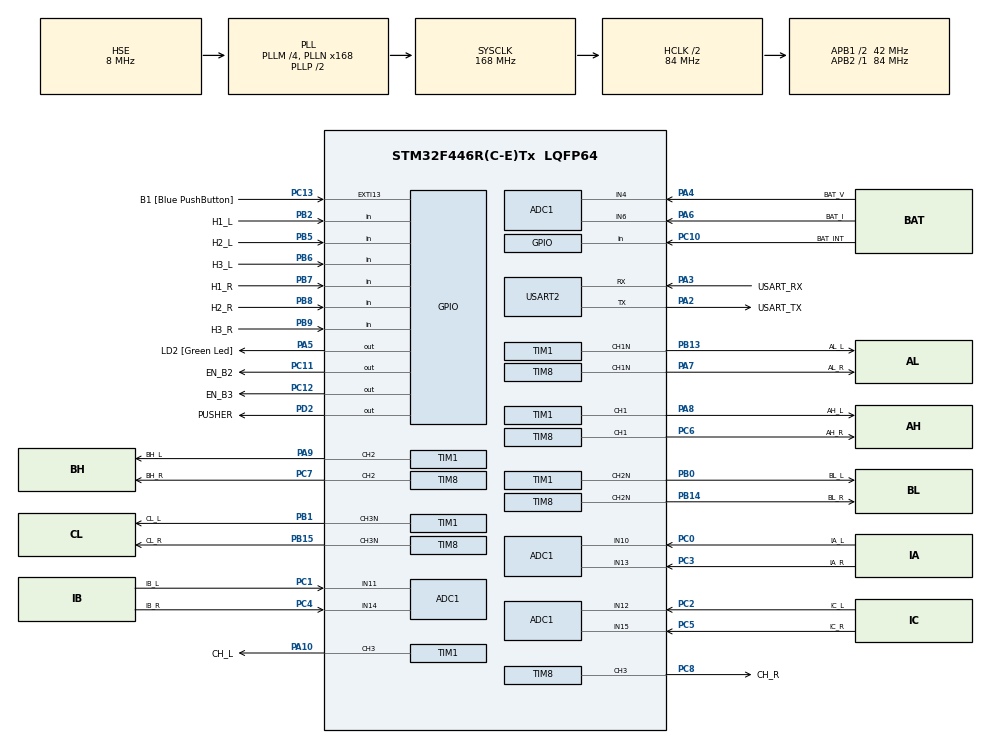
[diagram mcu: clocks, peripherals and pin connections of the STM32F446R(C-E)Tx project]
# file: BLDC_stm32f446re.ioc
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ADC1.Channel-0\#ChannelRegularConversion=ADC_CHANNEL_10
ADC1.Channel-1\#ChannelRegularConversion=ADC_CHANNEL_4
ADC1.Channel-2\#ChannelRegularConversion=ADC_CHANNEL_4
ADC1.Channel-3\#ChannelRegularConversion=ADC_CHANNEL_4
ADC1.Channel-4\#ChannelRegularConversion=ADC_CHANNEL_4
ADC1.Channel-5\#ChannelRegularConversion=ADC_CHANNEL_4
ADC1.Channel-6\#ChannelRegularConversion=ADC_CHANNEL_4
ADC1.Channel-7\#ChannelRegularConversion=ADC_CHANNEL_4
ADC1.NbrOfConversion=8
ADC1.NbrOfConversionFlag=1
ADC1.Rank-0\#ChannelRegularConversion=1
ADC1.Rank-1\#ChannelRegularConversion=2
ADC1.Rank-2\#ChannelRegularConversion=3
ADC1.Rank-3\#ChannelRegularConversion=4
ADC1.Rank-4\#ChannelRegularConversion=5
ADC1.Rank-5\#ChannelRegularConversion=6
ADC1.Rank-6\#ChannelRegularConversion=7
ADC1.Rank-7\#ChannelRegularConversion=8
ADC1.SamplingTime-0\#ChannelRegularConversion=ADC_SAMPLETIME_3CYCLES
ADC1.SamplingTime-1\#ChannelRegularConversion=ADC_SAMPLETIME_3CYCLES
ADC1.SamplingTime-2\#ChannelRegularConversion=ADC_SAMPLETIME_3CYCLES
ADC1.SamplingTime-3\#ChannelRegularConversion=ADC_SAMPLETIME_3CYCLES
ADC1.SamplingTime-4\#ChannelRegularConversion=ADC_SAMPLETIME_3CYCLES
ADC1.SamplingTime-5\#ChannelRegularConversion=ADC_SAMPLETIME_3CYCLES
ADC1.SamplingTime-6\#ChannelRegularConversion=ADC_SAMPLETIME_3CYCLES
ADC1.SamplingTime-7\#ChannelRegularConversion=ADC_SAMPLETIME_3CYCLES
ADC1.master=1
Mcu.Family=STM32F4
Mcu.Name=STM32F446R(C-E)Tx
Mcu.Package=LQFP64
NVIC.PriorityGroup=NVIC_PRIORITYGROUP_0
NVIC.TIM6_DAC_IRQn=true\:0\:0\:false\:false\:true\:true\:true\:true
NVIC.TIM7_IRQn=true\:0\:0\:false\:false\:true\:true\:true\:true
PA10.GPIO_Label=CH_L 
PA10.GPIO_PuPd=GPIO_PULLDOWN
PA10.Signal=S_TIM1_CH3
PA13.GPIO_Label=TMS
PA13.Mode=Trace_Asynchronous_SW
PA13.Signal=SYS_JTMS-SWDIO
PA14.GPIO_Label=TCK
PA14.Mode=Trace_Asynchronous_SW
PA14.Signal=SYS_JTCK-SWCLK
PA2.GPIO_Label=USART_TX
PA2.Mode=Asynchronous
PA2.Signal=USART2_TX
PA3.GPIO_Label=USART_RX
PA3.Mode=Asynchronous
PA3.Signal=USART2_RX
PA4.GPIO_Label=BAT_V
PA4.Signal=ADCx_IN4
PA5.GPIO_Label=LD2 [Green Led]
PA5.Signal=GPIO_Output
PA6.GPIO_Label=BAT_I
PA6.Signal=ADCx_IN6
PA7.GPIO_Label=AL_R 
PA7.GPIO_PuPd=GPIO_PULLDOWN
PA7.Mode=PWM Generation1 CH1 CH1N
PA7.Signal=TIM8_CH1N
PA8.GPIO_Label=AH_L 
PA8.GPIO_PuPd=GPIO_PULLDOWN
PA8.Signal=S_TIM1_CH1
PA9.GPIO_Label=BH_L 
PA9.GPIO_PuPd=GPIO_PULLDOWN
PA9.Signal=S_TIM1_CH2
PB0.GPIO_Label=BL_L 
PB0.GPIO_PuPd=GPIO_PULLDOWN
PB0.Mode=PWM Generation2 CH2 CH2N
PB0.Signal=TIM1_CH2N
PB1.GPIO_Label=CL_L 
PB1.GPIO_PuPd=GPIO_PULLDOWN
PB1.Mode=PWM Generation3 CH3 CH3N
PB1.Signal=TIM1_CH3N
PB13.GPIO_Label=AL_L 
PB13.GPIO_PuPd=GPIO_PULLDOWN
PB13.Mode=PWM Generation1 CH1 CH1N
PB13.Signal=TIM1_CH1N
PB14.GPIO_Label=BL_R
PB14.GPIO_PuPd=GPIO_PULLDOWN
PB14.Mode=PWM Generation2 CH2 CH2N
PB14.Signal=TIM8_CH2N
PB15.GPIO_Label=CL_R 
PB15.GPIO_PuPd=GPIO_PULLDOWN
PB15.Mode=PWM Generation3 CH3 CH3N
PB15.Signal=TIM8_CH3N
PB2.GPIO_Label=H1_L
PB2.Signal=GPIO_Input
PB3.GPIO_Label=SWO
PB3.Mode=Trace_Asynchronous_SW
PB3.Signal=SYS_JTDO-SWO
PB5.GPIO_Label=H2_L 
PB5.Signal=GPIO_Input
PB6.GPIO_Label=H3_L 
PB6.Signal=GPIO_Input
PB7.GPIO_Label=H1_R
PB7.Signal=GPIO_Input
PB8.GPIO_Label=H2_R
PB8.Signal=GPIO_Input
PB9.GPIO_Label=H3_R
PB9.Signal=GPIO_Input
PC0.GPIO_Label=IA_L 
PC0.Signal=ADCx_IN10
PC1.GPIO_Label=IB_L 
PC1.Signal=ADCx_IN11
PC10.GPIO_Label=BAT_INT 
PC10.Signal=GPIO_Input
PC11.GPIO_Label=EN_B2 
PC11.GPIO_PuPd=GPIO_PULLDOWN
PC11.Signal=GPIO_Output
PC12.GPIO_Label=EN_B3
PC12.GPIO_PuPd=GPIO_PULLDOWN
PC12.Signal=GPIO_Output
PC13.GPIO_Label=B1 [Blue PushButton]
PC13.GPIO_ModeDefaultEXTI=GPIO_MODE_IT_FALLING
PC13.Signal=GPXTI13
PC14-OSC32_IN.Mode=LSE-External-Oscillator
PC14-OSC32_IN.Signal=RCC_OSC32_IN
PC15-OSC32_OUT.Mode=LSE-External-Oscillator
PC15-OSC32_OUT.Signal=RCC_OSC32_OUT
PC2.GPIO_Label=IC_L 
PC2.Signal=ADCx_IN12
PC3.GPIO_Label=IA_R
PC3.Signal=ADCx_IN13
PC4.GPIO_Label=IB_R
PC4.Signal=ADCx_IN14
PC5.GPIO_Label=IC_R
PC5.Signal=ADCx_IN15
PC6.GPIO_Label=AH_R 
PC6.GPIO_PuPd=GPIO_PULLDOWN
PC6.Signal=S_TIM8_CH1
PC7.GPIO_Label=BH_R 
PC7.GPIO_PuPd=GPIO_PULLDOWN
PC7.Signal=S_TIM8_CH2
PC8.GPIO_Label=CH_R 
PC8.GPIO_PuPd=GPIO_PULLDOWN
PC8.Signal=S_TIM8_CH3
PD2.GPIO_Label=PUSHER
PD2.GPIO_PuPd=GPIO_PULLDOWN
PD2.Signal=GPIO_Output
PH0-OSC_IN.Mode=HSE-External-Oscillator
PH0-OSC_IN.Signal=RCC_OSC_IN
PH1-OSC_OUT.Mode=HSE-External-Oscillator
PH1-OSC_OUT.Signal=RCC_OSC_OUT
ProjectManager.HeapSize=0x200
ProjectManager.StackSize=0x400
ProjectManager.TargetToolchain=STM32CubeIDE
RCC.48MHZClocksFreq_Value=84000000
RCC.AHBCLKDivider=RCC_SYSCLK_DIV2
RCC.AHBFreq_Value=84000000
RCC.APB1CLKDivider=RCC_HCLK_DIV2
RCC.APB1Freq_Value=42000000
RCC.APB1TimFreq_Value=84000000
RCC.APB2Freq_Value=84000000
RCC.APB2TimFreq_Value=84000000
RCC.CortexFreq_Value=84000000
RCC.FLatency-AdvancedSettings=FLASH_LATENCY_2
RCC.HCLKFreq_Value=84000000
RCC.HSE_VALUE=8000000
RCC.HSI_VALUE=16000000
RCC.PLLM=4
RCC.PLLN=168
RCC.PLLQ=7
RCC.PLLSourceVirtual=RCC_PLLSOURCE_HSE
RCC.SYSCLKFreq_VALUE=168000000
RCC.SYSCLKSource=RCC_SYSCLKSOURCE_PLLCLK
RCC.USBFreq_Value=48000000
RCC.VCOOutputFreq_Value=336000000
SH.ADCx_IN10.0=ADC1_IN10,IN10
SH.ADCx_IN11.0=ADC1_IN11,IN11
SH.ADCx_IN12.0=ADC1_IN12,IN12
SH.ADCx_IN13.0=ADC1_IN13,IN13
SH.ADCx_IN14.0=ADC1_IN14,IN14
SH.ADCx_IN15.0=ADC1_IN15,IN15
SH.ADCx_IN4.0=ADC1_IN4,IN4
SH.ADCx_IN6.0=ADC1_IN6,IN6
SH.S_TIM1_CH1.0=TIM1_CH1,PWM Generation1 CH1 CH1N
SH.S_TIM1_CH2.0=TIM1_CH2,PWM Generation2 CH2 CH2N
SH.S_TIM1_CH3.0=TIM1_CH3,PWM Generation3 CH3 CH3N
SH.S_TIM8_CH1.0=TIM8_CH1,PWM Generation1 CH1 CH1N
SH.S_TIM8_CH2.0=TIM8_CH2,PWM Generation2 CH2 CH2N
SH.S_TIM8_CH3.0=TIM8_CH3,PWM Generation3 CH3 CH3N
TIM1.Channel-PWM\ Generation1\ CH1\ CH1N=TIM_CHANNEL_1
TIM1.Channel-PWM\ Generation2\ CH2\ CH2N=TIM_CHANNEL_2
TIM1.Channel-PWM\ Generation3\ CH3\ CH3N=TIM_CHANNEL_3
TIM1.CounterMode=TIM_COUNTERMODE_UP
TIM1.DeadTime=2
TIM1.OCNIdleState_1=TIM_OCNIDLESTATE_RESET
TIM1.OCNIdleState_2=TIM_OCNIDLESTATE_RESET
TIM1.OCNIdleState_3=TIM_OCNIDLESTATE_RESET
TIM1.OffStateRunMode=TIM_OSSR_ENABLE
TIM1.Period=100-1
TIM1.Prescaler=28-1
TIM1.Pulse-PWM\ Generation1\ CH1\ CH1N=0
TIM1.Pulse-PWM\ Generation2\ CH2\ CH2N=0
TIM1.Pulse-PWM\ Generation3\ CH3\ CH3N=0
TIM6.Period=10-1
TIM6.Prescaler=84-1
TIM6.TIM_MasterOutputTrigger=TIM_TRGO_RESET
TIM7.Period=1
TIM7.Prescaler=8400-1
TIM8.Channel-PWM\ Generation1\ CH1\ CH1N=TIM_CHANNEL_1
TIM8.Channel-PWM\ Generation2\ CH2\ CH2N=TIM_CHANNEL_2
TIM8.Channel-PWM\ Generation3\ CH3\ CH3N=TIM_CHANNEL_3
TIM8.DeadTime=2
TIM8.OffStateRunMode=TIM_OSSR_ENABLE
TIM8.Period=100-1
TIM8.Prescaler=28-1
TIM8.Pulse-PWM\ Generation1\ CH1\ CH1N=0
TIM8.Pulse-PWM\ Generation2\ CH2\ CH2N=0
TIM8.Pulse-PWM\ Generation3\ CH3\ CH3N=0
USART2.VirtualMode=VM_ASYNC
VP_TIM1_VS_ClockSourceINT.Mode=Internal
VP_TIM6_VS_ClockSourceINT.Mode=Enable_Timer
VP_TIM7_VS_ClockSourceINT.Mode=Enable_Timer
VP_TIM8_VS_ClockSourceINT.Mode=Internal
board=NUCLEO-F446RE

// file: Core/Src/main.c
/* USER CODE BEGIN Header */
/**
  ******************************************************************************
  * @file           : main.c
  * @brief          : Main program body
  ******************************************************************************
  * @attention
  *
  * Copyright (c) 2022 STMicroelectronics.
  * All rights reserved.
  *
  * This software is licensed under terms that can be found in the LICENSE file
  * in the root directory of this software component.
  * If no LICENSE file comes with this software, it is provided AS-IS.
  *
  ******************************************************************************
  */

/*  The following Table  describes the TIM1 Channels states (counterclockwise):
  -----------------------------------------------------------
  |Hall 1/2/3|  101  |  100  |  110  |  010  |  011  |  001  |
   ----------------------------------------------------------
  | aH-Ch1 |   0   |   0   |   0   |   1   |   1   |   0   |
   ----------------------------------------------------------
  | aL-Ch1N|   1   |   1   |   0   |   0   |   0   |   0   |
   ----------------------------------------------------------
  | bH-Ch2 |   1   |   0   |   0   |   0   |   0   |   1   |
   ----------------------------------------------------------
  | bL-Ch2N|   0   |   0   |   1   |   1   |   0   |   0   |
   ----------------------------------------------------------
  | cH-Ch3 |   0   |   1   |   1   |   0   |   0   |   0   |
   ----------------------------------------------------------
  | cL-Ch3N|   0   |   0   |   0   |   0   |   1   |   1   |
   ----------------------------------------------------------

   001 -> 011 -> 010 -> 110 -> 100 -> 101
*/

/*  The following Table  describes the TIM1 Channels states (clockwise):
  -----------------------------------------------------------
  |Hall 1/2/3|  101  |  100  |  110  |  010  |  011  |  001  |
   ----------------------------------------------------------
  | aH-Ch1 |   1   |   1   |   0   |   0   |   0   |   0   |
   ----------------------------------------------------------
  | aL-Ch1N|   0   |   0   |   0   |   1   |   1   |   0   |
   ----------------------------------------------------------
  | bH-Ch2 |   0   |   0   |   1   |   1   |   0   |   0   |
   ----------------------------------------------------------
  | bL-Ch2N|   1   |   0   |   0   |   0   |   0   |   1   |
   ----------------------------------------------------------
  | cH-Ch3 |   0   |   0   |   0   |   0   |   1   |   1   |
   ----------------------------------------------------------
  | cL-Ch3N|   0   |   1   |   1   |   0   |   0   |   0   |
   ----------------------------------------------------------

   101 -> 100 -> 110 -> 010 -> 011 -> 001
*/

/* USER CODE END Header */
#include "main.h"

/* USER CODE BEGIN Includes */
#include <stdio.h>
#include "functions.h"

//p number of poles pairs
// !!WARNING : IF CHANGED DEFINE, UPDATE FUNCTIONS.h FILE !!
#define P 8
#define FREQ_TIM7 10000
#define MAX_SPEED 20000
#define MIN_SPEED -20000
#define DC_MIN -90
#define DC_MAX 90

//hall sensors value
struct hall hall_L = {.h1=0,.h2=0,.h3=0,.h123=0,.prev_h123=0,.tickS=0,.tickP=0};
struct hall hall_R = {.h1=0,.h2=0,.h3=0,.h123=0,.prev_h123=0,.tickS=0,.tickP=0};

//enable bits for PWM : sense=1 -> motor clockwise // sense=0 -> motor anti clockwise
struct PWM PWM_L = {.aH=0,.aL=0,.bH=0,.bL=0,.cH=0,.cL=0,.sense=1};
struct PWM PWM_R = {.aH=0,.aL=0,.bH=0,.bL=0,.cH=0,.cL=0,.sense=0};

//speed control
struct dataSpeed dataSpeed_L = {.speed_ref=0,.speed=0,.error=0,.prev_error=0,.cmd=0,.cmdsat=0,.prev_cmd=0,.prev_cmdsat=0};
struct dataSpeed dataSpeed_R = {.speed_ref=0,.speed=0,.error=0,.prev_error=0,.cmd=0,.cmdsat=0,.prev_cmd=0,.prev_cmdsat=0};

//SYSTEM COMMAND
int16_t speed_refs[3]={3500,6000,0}; 	//in ms : 15sec at Fe=1kHz acquition

//PID settings
struct PID Speed_P = {.Kp=0.008f,.w_i=0,.Te=0.01f,.a0=0,.a1=0};

uint8_t millis_cpt=0; 	//to generate 1ms time
uint8_t millis_div=0;  //counter to match with TIM freq, to adapt to 1000Hz freq
uint16_t millis=0;    	//1ms time step

const uint16_t N=14499; 		//sample number for system identification

int16_t cpt=0;

/* USER CODE END Includes */

 ADC_HandleTypeDef hadc1;

TIM_HandleTypeDef htim1;
TIM_HandleTypeDef htim6;
TIM_HandleTypeDef htim7;
TIM_HandleTypeDef htim8;

UART_HandleTypeDef huart2;

void SystemClock_Config(void);
static void MX_GPIO_Init(void);
static void MX_USART2_UART_Init(void);
static void MX_ADC1_Init(void);
static void MX_TIM1_Init(void);
static void MX_TIM8_Init(void);
static void MX_TIM6_Init(void);
static void MX_TIM7_Init(void);

int main(void)
{
  /* USER CODE BEGIN 1 */

	//initialisation variables

  /* USER CODE END 1 */

  /* MCU Configuration--------------------------------------------------------*/

  /* Reset of all peripherals, Initializes the Flash interface and the Systick. */
  HAL_Init();

  /* Configure the system clock */
  SystemClock_Config();

  /* Initialize all configured peripherals */
  MX_GPIO_Init();
  MX_USART2_UART_Init();
  MX_ADC1_Init();
  MX_TIM1_Init();
  MX_TIM8_Init();
  MX_TIM6_Init();
  MX_TIM7_Init();
  /* USER CODE BEGIN 2 */

  //PWM START TIMER1
  HAL_TIM_PWM_Start(&htim1, TIM_CHANNEL_1);
  HAL_TIMEx_PWMN_Start(&htim1, TIM_CHANNEL_1);
  HAL_TIM_PWM_Start(&htim1, TIM_CHANNEL_2);
  HAL_TIMEx_PWMN_Start(&htim1, TIM_CHANNEL_2);
  HAL_TIM_PWM_Start(&htim1, TIM_CHANNEL_3);
  HAL_TIMEx_PWMN_Start(&htim1, TIM_CHANNEL_3);

  //PWM START TIMER8
  HAL_TIM_PWM_Start(&htim8, TIM_CHANNEL_1);
  HAL_TIMEx_PWMN_Start(&htim8, TIM_CHANNEL_1);
  HAL_TIM_PWM_Start(&htim8, TIM_CHANNEL_2);
  HAL_TIMEx_PWMN_Start(&htim8, TIM_CHANNEL_2);
  HAL_TIM_PWM_Start(&htim8, TIM_CHANNEL_3);
  HAL_TIMEx_PWMN_Start(&htim8, TIM_CHANNEL_3);

  //START INTERRUPTS
  HAL_TIM_Base_Start_IT(&htim6);
  HAL_TIM_Base_Start_IT(&htim7);
  TIM7->ARR = FREQ_TIM7/100; //set TIM7 interrupt frequency 100Hz

  //set interrupts priority
  //void HAL_NVIC_SetPriority (IRQn_Type IRQn, uint32_t PreemptPriority, uint32_t SubPriority)

  //tim1 priority, tim7, tim6
  //HAL_NVIC_SetPriority (TIM1 IRQn, uint32_t PreemptPriority, uint32_t SubPriority);

  //generate speed command (STEP)
  //void generateStep(uint16_t t0, uint8_t value0, uint16_t t1, uint8_t value1, uint16_t samples,  uint16_t  data[])
  //generateStep(10, 1000, 5000, 2500, N, speed_data);

  /* USER CODE END 2 */

  /* Infinite loop */
  while (1)
  {

    /* USER CODE BEGIN 3 */
	  /*
	  if (millis == N)
	  {
		  writeCSV(PWM_L.DC_data, N, PWM_L.DC_data, N);
		  millis++;
	  }
	*/

  }
  /* USER CODE END 3 */
}

void SystemClock_Config(void)
{
  RCC_OscInitTypeDef RCC_OscInitStruct = {0};
  RCC_ClkInitTypeDef RCC_ClkInitStruct = {0};

  /** Configure the main internal regulator output voltage
  */
  __HAL_RCC_PWR_CLK_ENABLE();
  __HAL_PWR_VOLTAGESCALING_CONFIG(PWR_REGULATOR_VOLTAGE_SCALE3);

  /** Initializes the RCC Oscillators according to the specified parameters
  * in the RCC_OscInitTypeDef structure.
  */
  RCC_OscInitStruct.OscillatorType = RCC_OSCILLATORTYPE_HSE;
  RCC_OscInitStruct.HSEState = RCC_HSE_ON;
  RCC_OscInitStruct.PLL.PLLState = RCC_PLL_ON;
  RCC_OscInitStruct.PLL.PLLSource = RCC_PLLSOURCE_HSE;
  RCC_OscInitStruct.PLL.PLLM = 4;
  RCC_OscInitStruct.PLL.PLLN = 168;
  RCC_OscInitStruct.PLL.PLLP = RCC_PLLP_DIV2;
  RCC_OscInitStruct.PLL.PLLQ = 7;
  RCC_OscInitStruct.PLL.PLLR = 2;
  if (HAL_RCC_OscConfig(&RCC_OscInitStruct) != HAL_OK)
  {
    Error_Handler();
  }

  /** Initializes the CPU, AHB and APB buses clocks
  */
  RCC_ClkInitStruct.ClockType = RCC_CLOCKTYPE_HCLK|RCC_CLOCKTYPE_SYSCLK
                              |RCC_CLOCKTYPE_PCLK1|RCC_CLOCKTYPE_PCLK2;
  RCC_ClkInitStruct.SYSCLKSource = RCC_SYSCLKSOURCE_PLLCLK;
  RCC_ClkInitStruct.AHBCLKDivider = RCC_SYSCLK_DIV2;
  RCC_ClkInitStruct.APB1CLKDivider = RCC_HCLK_DIV2;
  RCC_ClkInitStruct.APB2CLKDivider = RCC_HCLK_DIV1;

  if (HAL_RCC_ClockConfig(&RCC_ClkInitStruct, FLASH_LATENCY_2) != HAL_OK)
  {
    Error_Handler();
  }
}

static void MX_ADC1_Init(void)
{

  ADC_ChannelConfTypeDef sConfig = {0};

  /** Configure the global features of the ADC (Clock, Resolution, Data Alignment and number of conversion)
  */
  hadc1.Instance = ADC1;
  hadc1.Init.ClockPrescaler = ADC_CLOCK_SYNC_PCLK_DIV4;
  hadc1.Init.Resolution = ADC_RESOLUTION_12B;
  hadc1.Init.ScanConvMode = ENABLE;
  hadc1.Init.ContinuousConvMode = DISABLE;
  hadc1.Init.DiscontinuousConvMode = DISABLE;
  hadc1.Init.ExternalTrigConvEdge = ADC_EXTERNALTRIGCONVEDGE_NONE;
  hadc1.Init.ExternalTrigConv = ADC_SOFTWARE_START;
  hadc1.Init.DataAlign = ADC_DATAALIGN_RIGHT;
  hadc1.Init.NbrOfConversion = 8;
  hadc1.Init.DMAContinuousRequests = DISABLE;
  hadc1.Init.EOCSelection = ADC_EOC_SINGLE_CONV;
  if (HAL_ADC_Init(&hadc1) != HAL_OK)
  {
    Error_Handler();
  }

  /** Configure for the selected ADC regular channel its corresponding rank in the sequencer and its sample time.
  */
  sConfig.Channel = ADC_CHANNEL_10;
  sConfig.Rank = 1;
  sConfig.SamplingTime = ADC_SAMPLETIME_3CYCLES;
  if (HAL_ADC_ConfigChannel(&hadc1, &sConfig) != HAL_OK)
  {
    Error_Handler();
  }

  /** Configure for the selected ADC regular channel its corresponding rank in the sequencer and its sample time.
  */
  sConfig.Channel = ADC_CHANNEL_4;
  sConfig.Rank = 2;
  if (HAL_ADC_ConfigChannel(&hadc1, &sConfig) != HAL_OK)
  {
    Error_Handler();
  }

  /** Configure for the selected ADC regular channel its corresponding rank in the sequencer and its sample time.
  */
  sConfig.Rank = 3;
  if (HAL_ADC_ConfigChannel(&hadc1, &sConfig) != HAL_OK)
  {
    Error_Handler();
  }

  /** Configure for the selected ADC regular channel its corresponding rank in the sequencer and its sample time.
  */
  sConfig.Rank = 4;
  if (HAL_ADC_ConfigChannel(&hadc1, &sConfig) != HAL_OK)
  {
    Error_Handler();
  }

  /** Configure for the selected ADC regular channel its corresponding rank in the sequencer and its sample time.
  */
  sConfig.Rank = 5;
  if (HAL_ADC_ConfigChannel(&hadc1, &sConfig) != HAL_OK)
  {
    Error_Handler();
  }

  /** Configure for the selected ADC regular channel its corresponding rank in the sequencer and its sample time.
  */
  sConfig.Rank = 6;
  if (HAL_ADC_ConfigChannel(&hadc1, &sConfig) != HAL_OK)
  {
    Error_Handler();
  }

  /** Configure for the selected ADC regular channel its corresponding rank in the sequencer and its sample time.
  */
  sConfig.Rank = 7;
  if (HAL_ADC_ConfigChannel(&hadc1, &sConfig) != HAL_OK)
  {
    Error_Handler();
  }

  /** Configure for the selected ADC regular channel its corresponding rank in the sequencer and its sample time.
  */
  sConfig.Rank = 8;
  if (HAL_ADC_ConfigChannel(&hadc1, &sConfig) != HAL_OK)
  {
    Error_Handler();
  }

}

static void MX_TIM1_Init(void)
{

  TIM_ClockConfigTypeDef sClockSourceConfig = {0};
  TIM_MasterConfigTypeDef sMasterConfig = {0};
  TIM_OC_InitTypeDef sConfigOC = {0};
  TIM_BreakDeadTimeConfigTypeDef sBreakDeadTimeConfig = {0};

  htim1.Instance = TIM1;
  htim1.Init.Prescaler = 28-1;
  htim1.Init.CounterMode = TIM_COUNTERMODE_UP;
  htim1.Init.Period = 100-1;
  htim1.Init.ClockDivision = TIM_CLOCKDIVISION_DIV1;
  htim1.Init.RepetitionCounter = 0;
  htim1.Init.AutoReloadPreload = TIM_AUTORELOAD_PRELOAD_DISABLE;
  if (HAL_TIM_Base_Init(&htim1) != HAL_OK)
  {
    Error_Handler();
  }
  sClockSourceConfig.ClockSource = TIM_CLOCKSOURCE_INTERNAL;
  if (HAL_TIM_ConfigClockSource(&htim1, &sClockSourceConfig) != HAL_OK)
  {
    Error_Handler();
  }
  if (HAL_TIM_PWM_Init(&htim1) != HAL_OK)
  {
    Error_Handler();
  }
  sMasterConfig.MasterOutputTrigger = TIM_TRGO_RESET;
  sMasterConfig.MasterSlaveMode = TIM_MASTERSLAVEMODE_DISABLE;
  if (HAL_TIMEx_MasterConfigSynchronization(&htim1, &sMasterConfig) != HAL_OK)
  {
    Error_Handler();
  }
  sConfigOC.OCMode = TIM_OCMODE_PWM1;
  sConfigOC.Pulse = 0;
  sConfigOC.OCPolarity = TIM_OCPOLARITY_HIGH;
  sConfigOC.OCNPolarity = TIM_OCNPOLARITY_HIGH;
  sConfigOC.OCFastMode = TIM_OCFAST_DISABLE;
  sConfigOC.OCIdleState = TIM_OCIDLESTATE_RESET;
  sConfigOC.OCNIdleState = TIM_OCNIDLESTATE_RESET;
  if (HAL_TIM_PWM_ConfigChannel(&htim1, &sConfigOC, TIM_CHANNEL_1) != HAL_OK)
  {
    Error_Handler();
  }
  if (HAL_TIM_PWM_ConfigChannel(&htim1, &sConfigOC, TIM_CHANNEL_2) != HAL_OK)
  {
    Error_Handler();
  }
  if (HAL_TIM_PWM_ConfigChannel(&htim1, &sConfigOC, TIM_CHANNEL_3) != HAL_OK)
  {
    Error_Handler();
  }
  sBreakDeadTimeConfig.OffStateRunMode = TIM_OSSR_ENABLE;
  sBreakDeadTimeConfig.OffStateIDLEMode = TIM_OSSI_DISABLE;
  sBreakDeadTimeConfig.LockLevel = TIM_LOCKLEVEL_OFF;
  sBreakDeadTimeConfig.DeadTime = 2;
  sBreakDeadTimeConfig.BreakState = TIM_BREAK_DISABLE;
  sBreakDeadTimeConfig.BreakPolarity = TIM_BREAKPOLARITY_HIGH;
  sBreakDeadTimeConfig.AutomaticOutput = TIM_AUTOMATICOUTPUT_DISABLE;
  if (HAL_TIMEx_ConfigBreakDeadTime(&htim1, &sBreakDeadTimeConfig) != HAL_OK)
  {
    Error_Handler();
  }
  HAL_TIM_MspPostInit(&htim1);

}

static void MX_TIM6_Init(void)
{

  TIM_MasterConfigTypeDef sMasterConfig = {0};

  htim6.Instance = TIM6;
  htim6.Init.Prescaler = 84-1;
  htim6.Init.CounterMode = TIM_COUNTERMODE_UP;
  htim6.Init.Period = 10-1;
  htim6.Init.AutoReloadPreload = TIM_AUTORELOAD_PRELOAD_DISABLE;
  if (HAL_TIM_Base_Init(&htim6) != HAL_OK)
  {
    Error_Handler();
  }
  sMasterConfig.MasterOutputTrigger = TIM_TRGO_RESET;
  sMasterConfig.MasterSlaveMode = TIM_MASTERSLAVEMODE_DISABLE;
  if (HAL_TIMEx_MasterConfigSynchronization(&htim6, &sMasterConfig) != HAL_OK)
  {
    Error_Handler();
  }

}

static void MX_TIM7_Init(void)
{

  TIM_MasterConfigTypeDef sMasterConfig = {0};

  htim7.Instance = TIM7;
  htim7.Init.Prescaler = 8400-1;
  htim7.Init.CounterMode = TIM_COUNTERMODE_UP;
  htim7.Init.Period = 1;
  htim7.Init.AutoReloadPreload = TIM_AUTORELOAD_PRELOAD_DISABLE;
  if (HAL_TIM_Base_Init(&htim7) != HAL_OK)
  {
    Error_Handler();
  }
  sMasterConfig.MasterOutputTrigger = TIM_TRGO_RESET;
  sMasterConfig.MasterSlaveMode = TIM_MASTERSLAVEMODE_DISABLE;
  if (HAL_TIMEx_MasterConfigSynchronization(&htim7, &sMasterConfig) != HAL_OK)
  {
    Error_Handler();
  }

}

static void MX_TIM8_Init(void)
{

  TIM_ClockConfigTypeDef sClockSourceConfig = {0};
  TIM_MasterConfigTypeDef sMasterConfig = {0};
  TIM_OC_InitTypeDef sConfigOC = {0};
  TIM_BreakDeadTimeConfigTypeDef sBreakDeadTimeConfig = {0};

  htim8.Instance = TIM8;
  htim8.Init.Prescaler = 28-1;
  htim8.Init.CounterMode = TIM_COUNTERMODE_UP;
  htim8.Init.Period = 100-1;
  htim8.Init.ClockDivision = TIM_CLOCKDIVISION_DIV1;
  htim8.Init.RepetitionCounter = 0;
  htim8.Init.AutoReloadPreload = TIM_AUTORELOAD_PRELOAD_DISABLE;
  if (HAL_TIM_Base_Init(&htim8) != HAL_OK)
  {
    Error_Handler();
  }
  sClockSourceConfig.ClockSource = TIM_CLOCKSOURCE_INTERNAL;
  if (HAL_TIM_ConfigClockSource(&htim8, &sClockSourceConfig) != HAL_OK)
  {
    Error_Handler();
  }
  if (HAL_TIM_PWM_Init(&htim8) != HAL_OK)
  {
    Error_Handler();
  }
  sMasterConfig.MasterOutputTrigger = TIM_TRGO_RESET;
  sMasterConfig.MasterSlaveMode = TIM_MASTERSLAVEMODE_DISABLE;
  if (HAL_TIMEx_MasterConfigSynchronization(&htim8, &sMasterConfig) != HAL_OK)
  {
    Error_Handler();
  }
  sConfigOC.OCMode = TIM_OCMODE_PWM1;
  sConfigOC.Pulse = 0;
  sConfigOC.OCPolarity = TIM_OCPOLARITY_HIGH;
  sConfigOC.OCNPolarity = TIM_OCNPOLARITY_HIGH;
  sConfigOC.OCFastMode = TIM_OCFAST_DISABLE;
  sConfigOC.OCIdleState = TIM_OCIDLESTATE_RESET;
  sConfigOC.OCNIdleState = TIM_OCNIDLESTATE_RESET;
  if (HAL_TIM_PWM_ConfigChannel(&htim8, &sConfigOC, TIM_CHANNEL_1) != HAL_OK)
  {
    Error_Handler();
  }
  if (HAL_TIM_PWM_ConfigChannel(&htim8, &sConfigOC, TIM_CHANNEL_2) != HAL_OK)
  {
    Error_Handler();
  }
  if (HAL_TIM_PWM_ConfigChannel(&htim8, &sConfigOC, TIM_CHANNEL_3) != HAL_OK)
  {
    Error_Handler();
  }
  sBreakDeadTimeConfig.OffStateRunMode = TIM_OSSR_ENABLE;
  sBreakDeadTimeConfig.OffStateIDLEMode = TIM_OSSI_DISABLE;
  sBreakDeadTimeConfig.LockLevel = TIM_LOCKLEVEL_OFF;
  sBreakDeadTimeConfig.DeadTime = 2;
  sBreakDeadTimeConfig.BreakState = TIM_BREAK_DISABLE;
  sBreakDeadTimeConfig.BreakPolarity = TIM_BREAKPOLARITY_HIGH;
  sBreakDeadTimeConfig.AutomaticOutput = TIM_AUTOMATICOUTPUT_DISABLE;
  if (HAL_TIMEx_ConfigBreakDeadTime(&htim8, &sBreakDeadTimeConfig) != HAL_OK)
  {
    Error_Handler();
  }
  HAL_TIM_MspPostInit(&htim8);

}

static void MX_USART2_UART_Init(void)
{

  huart2.Instance = USART2;
  huart2.Init.BaudRate = 115200;
  huart2.Init.WordLength = UART_WORDLENGTH_8B;
  huart2.Init.StopBits = UART_STOPBITS_1;
  huart2.Init.Parity = UART_PARITY_NONE;
  huart2.Init.Mode = UART_MODE_TX_RX;
  huart2.Init.HwFlowCtl = UART_HWCONTROL_NONE;
  huart2.Init.OverSampling = UART_OVERSAMPLING_16;
  if (HAL_UART_Init(&huart2) != HAL_OK)
  {
    Error_Handler();
  }

}

static void MX_GPIO_Init(void)
{
  GPIO_InitTypeDef GPIO_InitStruct = {0};

  /* GPIO Ports Clock Enable */
  __HAL_RCC_GPIOC_CLK_ENABLE();
  __HAL_RCC_GPIOH_CLK_ENABLE();
  __HAL_RCC_GPIOA_CLK_ENABLE();
  __HAL_RCC_GPIOB_CLK_ENABLE();
  __HAL_RCC_GPIOD_CLK_ENABLE();

  /*Configure GPIO pin Output Level */
  HAL_GPIO_WritePin(LD2_GPIO_Port, LD2_Pin, GPIO_PIN_RESET);

  /*Configure GPIO pin Output Level */
  HAL_GPIO_WritePin(GPIOC, EN_B2_Pin|EN_B3_Pin, GPIO_PIN_RESET);

  /*Configure GPIO pin Output Level */
  HAL_GPIO_WritePin(PUSHER_GPIO_Port, PUSHER_Pin, GPIO_PIN_RESET);

  /*Configure GPIO pin : B1_Pin */
  GPIO_InitStruct.Pin = B1_Pin;
  GPIO_InitStruct.Mode = GPIO_MODE_IT_FALLING;
  GPIO_InitStruct.Pull = GPIO_NOPULL;
  HAL_GPIO_Init(B1_GPIO_Port, &GPIO_InitStruct);

  /*Configure GPIO pin : LD2_Pin */
  GPIO_InitStruct.Pin = LD2_Pin;
  GPIO_InitStruct.Mode = GPIO_MODE_OUTPUT_PP;
  GPIO_InitStruct.Pull = GPIO_NOPULL;
  GPIO_InitStruct.Speed = GPIO_SPEED_FREQ_LOW;
  HAL_GPIO_Init(LD2_GPIO_Port, &GPIO_InitStruct);

  /*Configure GPIO pins : H1_L_Pin H2_L_Pin H3_L_Pin H1_R_Pin
                           H2_R_Pin H3_R_Pin */
  GPIO_InitStruct.Pin = H1_L_Pin|H2_L_Pin|H3_L_Pin|H1_R_Pin
                          |H2_R_Pin|H3_R_Pin;
  GPIO_InitStruct.Mode = GPIO_MODE_INPUT;
  GPIO_InitStruct.Pull = GPIO_NOPULL;
  HAL_GPIO_Init(GPIOB, &GPIO_InitStruct);

  /*Configure GPIO pin : BAT_INT_Pin */
  GPIO_InitStruct.Pin = BAT_INT_Pin;
  GPIO_InitStruct.Mode = GPIO_MODE_INPUT;
  GPIO_InitStruct.Pull = GPIO_NOPULL;
  HAL_GPIO_Init(BAT_INT_GPIO_Port, &GPIO_InitStruct);

  /*Configure GPIO pins : EN_B2_Pin EN_B3_Pin */
  GPIO_InitStruct.Pin = EN_B2_Pin|EN_B3_Pin;
  GPIO_InitStruct.Mode = GPIO_MODE_OUTPUT_PP;
  GPIO_InitStruct.Pull = GPIO_PULLDOWN;
  GPIO_InitStruct.Speed = GPIO_SPEED_FREQ_LOW;
  HAL_GPIO_Init(GPIOC, &GPIO_InitStruct);

  /*Configure GPIO pin : PUSHER_Pin */
  GPIO_InitStruct.Pin = PUSHER_Pin;
  GPIO_InitStruct.Mode = GPIO_MODE_OUTPUT_PP;
  GPIO_InitStruct.Pull = GPIO_PULLDOWN;
  GPIO_InitStruct.Speed = GPIO_SPEED_FREQ_LOW;
  HAL_GPIO_Init(PUSHER_GPIO_Port, &GPIO_InitStruct);

}

/* USER CODE BEGIN 4 */

/**
 * General purpose functions
 */

/**
 * Interrupt function
 *
 */
void HAL_TIM_PeriodElapsedCallback(TIM_HandleTypeDef *htim)
{
	//check the timer version (generic function)
	if (htim == &htim6)
	/* 100kHz interrupt for hall reading and Moore state machine calculations
	*/
	{
		if(millis_div)
		{
			//time generator
			if (millis < N)
			{
				if (millis_cpt >=50) //millis -> 1ms
				{
					millis++;	millis_cpt=0;
				}
				else
				{
					millis_cpt++;
				}
			}

			//read hall values
			readHall_L(&hall_L);	readHall_R(&hall_R);

			//calculate gate enable bits
			decodeHall(&hall_L,&PWM_L); decodeHall(&hall_R,&PWM_R);

			//change output values
			updateOutput_L(PWM_L); updateOutput_R(PWM_R);

			millis_div=0;					//reset freq divider
		}
		else
		{
 			millis_div++;
		}
		cpt++;
	}

	if (htim == &htim7)
	{
	/* Update duty cycle if needed at 100Hz
	*/

		//COmmand send to motor
		if (millis < 5000)
		{
			dataSpeed_L.speed_ref=speed_refs[0];
			dataSpeed_R.speed_ref=-speed_refs[0];
		}
		else if (millis < N)
		{
			dataSpeed_L.speed_ref=speed_refs[1];
			dataSpeed_R.speed_ref=-speed_refs[1];
		}
		else
		{
			//end command
			dataSpeed_L.speed_ref=0;
			dataSpeed_R.speed_ref=0;

		}

		//Calculate speed correction
		PIDS_Prop(&Speed_P, &dataSpeed_L,&dataSpeed_R,&hall_L, &hall_R);

		//update PWM level with min/max saturation
		writeCommand_L(&PWM_L,&dataSpeed_L);
		writeCommand_R(&PWM_R,&dataSpeed_R);

		//printf("ref L : %d | mes L : %d |  cmd L : %d\n",dataSpeed_L.speed_ref,dataSpeed_L.speed,dataSpeed_L.cmdsat);
		//printf("ref R : %d | mes R : %d |  cmd R : %d\n",dataSpeed_R.speed_ref,dataSpeed_R.speed,dataSpeed_R.cmdsat);
		//reset variables
		dataSpeed_L.prev_cmd=dataSpeed_L.cmd;
		dataSpeed_L.prev_error=dataSpeed_L.error;
		dataSpeed_R.prev_cmd=dataSpeed_R.cmd;
		dataSpeed_R.prev_error=dataSpeed_R.error;
		printf("cpt : %d\n", cpt);
		cpt=0;
	}
}

/* USER CODE END 4 */

void Error_Handler(void)
{
  __disable_irq();
  while (1)
  {
  }
}
